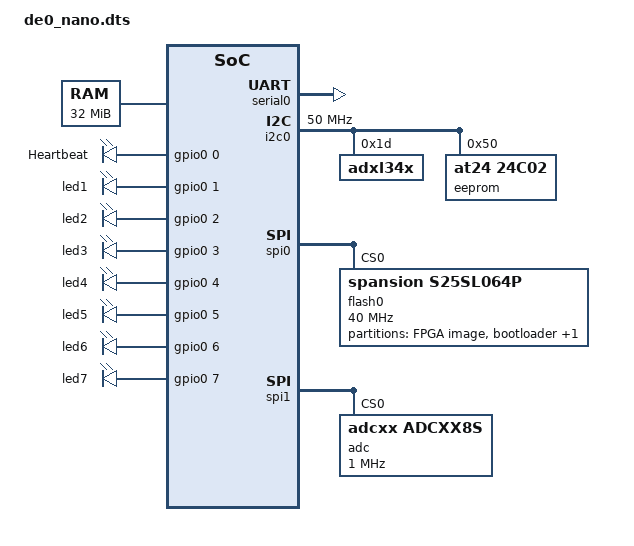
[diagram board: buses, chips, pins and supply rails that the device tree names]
/dts-v1/;
/ {
	compatible = "opencores,de0_nano";
	#address-cells = <1>;
	#size-cells = <1>;
	interrupt-parent = <&pic>;

	chosen {
		bootargs = "console=uart,mmio,0x90000000,115200";
	};

	memory@0 {
		device_type = "memory";
		reg = <0x00000000 0x02000000>;
	};

	cpus {
		#address-cells = <1>;
		#size-cells = <0>;
		cpu@0 {
			compatible = "opencores,or1200-rtlsvn481";
			reg = <0>;
			clock-frequency = <50000000>;
		};
	};

	/*
	 * OR1K PIC is built into CPU and accessed via special purpose
	 * registers.  It is not addressable and, hence, has no 'reg'
	 * property.
	 */
	pic: pic {
		compatible = "opencores,or1k-pic";
		#interrupt-cells = <1>;
		interrupt-controller;
	};

	serial0: serial@90000000 {
		compatible = "opencores,uart16550-rtlsvn105", "ns16550a";
		reg = <0x90000000 0x100>;
		interrupts = <2>;
		clock-frequency = <50000000>;
	};

	i2c0: ocores@a0000000 {
		#address-cells = <1>;
		#size-cells = <0>;
		compatible = "opencores,i2c-ocores";
		reg = <0xa0000000 0x8>;
		interrupts = <10>;
		clock-frequency = <50000000>;

		reg-shift = <0>;	/* 8 bit registers */
		reg-io-width = <1>;	/* 8 bit read/write */

		adxl34x@1d {
			compatible = "adxl34x";
			reg = <0x1d>;
			interrupts = <26>;
		};
		eeprom@50 {
			compatible = "at24,24c02";
			reg = <0x50>;
			pagesize = <8>;
		};
	};

	spi0: spi0@b0000000 {
		#address-cells = <1>;
		#size-cells = <0>;
		compatible = "opencores,spi-simple";
		reg = <0xb0000000 0x5>;

		flash0: mtd@0 {
			#address-cells = <1>;
			#size-cells = <1>;
			compatible = "spansion,s25sl064p";
			reg = <0>;
			spi-max-frequency = <40000000>;
			m25p,fast-read;

			partition@0 {
				label = "FPGA image";
				reg = <0x00000000 0x000b0000>;
				read-only;
			};
			partition@b0000 {
				label = "bootloader";
				reg = <0x000b0000 0x00050000>;
				read-only;
			};
			partition@100000 {
				label = "free space";
				reg = <0x00100000 0x00700000>;
			};
		};
	};

	spi1: spi1@b1000000 {
		#address-cells = <1>;
		#size-cells = <0>;
		compatible = "opencores,spi-simple";
		reg = <0xb1000000 0x5>;

		adc@0 {
			compatible = "adcxx,adcxx8s";
			reg = <0>;
			spi-max-frequency = <1000000>;
		};
	};

	gpio0: gpio@91000000 {
		compatible = "opencores,jbtrivial";
		reg = <0x91000000 0x2>;
		#gpio-cells = <2>;
		gpio-controller;
		xlnx,data-offset = <0>;
		xlnx,tri-offset = <1>;
		xlnx,gpio-width = <8>;
	};

	gpio-leds {
		compatible = "gpio-leds";
		heartbeat {
			label = "Heartbeat";
			gpios = <&gpio0 0 0x0>;
			linux,default-trigger = "heartbeat";
		};
		led1 {
			label = "led1";
			gpios = <&gpio0 1 0>;
		};
		led2 {
			label = "led2";
			gpios = <&gpio0 2 0>;
		};
		led3 {
			label = "led3";
			gpios = <&gpio0 3 0>;
		};
		led4 {
			label = "led4";
			gpios = <&gpio0 4 0>;
		};
		led5 {
			label = "led5";
			gpios = <&gpio0 5 0>;
		};
		led6 {
			label = "led6";
			gpios = <&gpio0 6 0>;
		};
		led7 {
			label = "led7";
			gpios = <&gpio0 7 0>;
		};
	};
};
